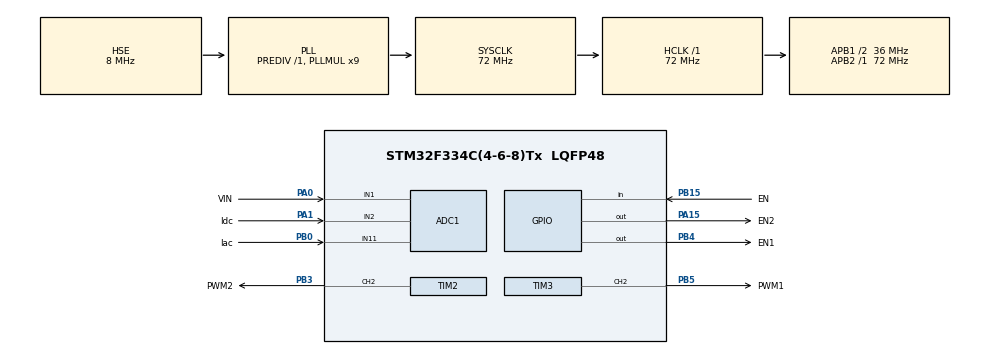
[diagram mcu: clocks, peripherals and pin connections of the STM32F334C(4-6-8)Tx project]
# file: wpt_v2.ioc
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ADC1.Channel-0\#ChannelRegularConversion=ADC_CHANNEL_1
ADC1.Channel-1\#ChannelRegularConversion=ADC_CHANNEL_2
ADC1.Channel-2\#ChannelRegularConversion=ADC_CHANNEL_11
ADC1.ClockPrescaler=ADC_CLOCK_SYNC_PCLK_DIV2
ADC1.ContinuousConvMode=ENABLE
ADC1.DMAContinuousRequests=ENABLE
ADC1.EOCSelection=ADC_EOC_SEQ_CONV
ADC1.NbrOfConversion=3
ADC1.NbrOfConversionFlag=1
ADC1.Offset-0\#ChannelRegularConversion=0
ADC1.Offset-1\#ChannelRegularConversion=0
ADC1.Offset-2\#ChannelRegularConversion=0
ADC1.OffsetNumber-0\#ChannelRegularConversion=ADC_OFFSET_NONE
ADC1.OffsetNumber-1\#ChannelRegularConversion=ADC_OFFSET_NONE
ADC1.OffsetNumber-2\#ChannelRegularConversion=ADC_OFFSET_NONE
ADC1.Overrun=ADC_OVR_DATA_PRESERVED
ADC1.Rank-0\#ChannelRegularConversion=1
ADC1.Rank-1\#ChannelRegularConversion=2
ADC1.Rank-2\#ChannelRegularConversion=3
ADC1.SamplingTime-0\#ChannelRegularConversion=ADC_SAMPLETIME_61CYCLES_5
ADC1.SamplingTime-1\#ChannelRegularConversion=ADC_SAMPLETIME_61CYCLES_5
ADC1.SamplingTime-2\#ChannelRegularConversion=ADC_SAMPLETIME_1CYCLE_5
ADC1.SamplingTimeOPAMP-1\#ChannelRegularConversion=ADC_SAMPLETIME_19CYCLES_5
ADC1.SamplingTimeOPAMP-2\#ChannelRegularConversion=ADC_SAMPLETIME_19CYCLES_5
ADC1.SequencerNbRanks=1
ADC1.master=1
Dma.ADC1.0.Direction=DMA_PERIPH_TO_MEMORY
Dma.ADC1.0.Instance=DMA1_Channel1
Dma.ADC1.0.MemDataAlignment=DMA_MDATAALIGN_HALFWORD
Dma.ADC1.0.MemInc=DMA_MINC_ENABLE
Dma.ADC1.0.Mode=DMA_CIRCULAR
Dma.ADC1.0.PeriphDataAlignment=DMA_PDATAALIGN_HALFWORD
Dma.ADC1.0.PeriphInc=DMA_PINC_DISABLE
Dma.ADC1.0.Priority=DMA_PRIORITY_HIGH
Dma.Request0=ADC1
Mcu.Family=STM32F3
Mcu.Name=STM32F334C(4-6-8)Tx
Mcu.Package=LQFP48
NVIC.DMA1_Channel1_IRQn=true\:2\:0\:true\:false\:true\:false\:true\:true
NVIC.PriorityGroup=NVIC_PRIORITYGROUP_4
PA0.GPIO_Label=VIN
PA0.Mode=IN1-Single-Ended
PA0.Signal=ADC1_IN1
PA1.GPIO_Label=Idc
PA1.Mode=IN2-Single-Ended
PA1.Signal=ADC1_IN2
PA13.Mode=Serial_Wire
PA13.Signal=SYS_JTMS-SWDIO
PA14.Mode=Serial_Wire
PA14.Signal=SYS_JTCK-SWCLK
PA15.GPIO_Label=EN2
PA15.Signal=GPIO_Output
PB0.GPIO_Label=Iac
PB0.Mode=IN11-Single-Ended
PB0.Signal=ADC1_IN11
PB15.GPIO_Label=EN
PB15.GPIO_PuPd=GPIO_PULLUP
PB15.Signal=GPIO_Input
PB3.GPIO_Label=PWM2
PB3.Signal=S_TIM2_CH2
PB4.GPIO_Label=EN1
PB4.Signal=GPIO_Output
PB5.GPIO_Label=PWM1
PB5.Signal=S_TIM3_CH2
PF0\ /\ OSC_IN.Mode=HSE-External-Oscillator
PF0\ /\ OSC_IN.Signal=RCC_OSC_IN
PF1\ /\ OSC_OUT.Mode=HSE-External-Oscillator
PF1\ /\ OSC_OUT.Signal=RCC_OSC_OUT
ProjectManager.HeapSize=0x200
ProjectManager.StackSize=0x400
ProjectManager.TargetToolchain=MDK-ARM V5.32
RCC.AHBFreq_Value=72000000
RCC.APB1CLKDivider=RCC_HCLK_DIV2
RCC.APB1Freq_Value=36000000
RCC.APB1TimFreq_Value=72000000
RCC.APB2Freq_Value=72000000
RCC.APB2TimFreq_Value=72000000
RCC.CortexFreq_Value=72000000
RCC.HCLKFreq_Value=72000000
RCC.HSE_VALUE=8000000
RCC.HSI_VALUE=8000000
RCC.LSE_VALUE=32768
RCC.PLLMUL=RCC_PLL_MUL9
RCC.PLLSourceVirtual=RCC_PLLSOURCE_HSE
RCC.SYSCLKFreq_VALUE=72000000
RCC.SYSCLKSourceVirtual=RCC_SYSCLKSOURCE_PLLCLK
SH.S_TIM2_CH2.0=TIM2_CH2,PWM Generation2 CH2
SH.S_TIM3_CH2.0=TIM3_CH2,PWM Generation2 CH2
TIM2.AutoReloadPreload=TIM_AUTORELOAD_PRELOAD_ENABLE
TIM2.Channel-PWM\ Generation2\ CH2=TIM_CHANNEL_2
TIM2.Period=719
TIM3.AutoReloadPreload=TIM_AUTORELOAD_PRELOAD_ENABLE
TIM3.Channel-Output\ Compare1\ No\ Output=TIM_CHANNEL_1
TIM3.Channel-PWM\ Generation2\ CH2=TIM_CHANNEL_2
TIM3.OC1Preload=ENABLE
TIM3.Period=719
TIM3.TIM_MasterOutputTrigger=TIM_TRGO_OC1REF
TIM3.TIM_MasterSlaveMode=TIM_MASTERSLAVEMODE_ENABLE
VP_TIM2_VS_ClockSourceITR.Mode=TriggerSource_ITR2
VP_TIM2_VS_ControllerModeReset.Mode=Reset Mode
VP_TIM3_VS_ClockSourceINT.Mode=Internal
VP_TIM3_VS_no_output1.Mode=Output Compare1 No Output
board=custom

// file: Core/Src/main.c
/* USER CODE BEGIN Header */
/**
  ******************************************************************************
  * @file           : main.c
  * @brief          : Main program body
  ******************************************************************************
  * @attention
  *
  * Copyright (c) 2026 STMicroelectronics.
  * All rights reserved.
  *
  * This software is licensed under terms that can be found in the LICENSE file
  * in the root directory of this software component.
  * If no LICENSE file comes with this software, it is provided AS-IS.
  *
  ******************************************************************************
  */
/* USER CODE END Header */
#include "main.h"
#include "adc.h"
#include "dma.h"
#include "tim.h"
#include "gpio.h"

/* USER CODE BEGIN Includes */
#include "fz_hbridge.h"
#include "adc_sensor.h"

#ifdef USE_FREERTOS
#include "FreeRTOS.h"
#include "task.h"

/* External task functions (defined in app_tasks.c) */
extern void vTaskController(void *pvParameters);
extern void vTaskPeripheral(void *pvParameters);

/* System configuration helpers (defined in syscfg.c) */
extern void syscfg_jtag_release(void);
extern void syscfg_powerup_safety(void);
#endif

/* USER CODE END Includes */

void SystemClock_Config(void);

int main(void)
{

  /* MCU Configuration--------------------------------------------------------*/

  /* Reset of all peripherals, Initializes the Flash interface and the Systick. */
  HAL_Init();

  /* Configure the system clock */
  SystemClock_Config();

  /* USER CODE BEGIN SysInit */
    /* JTAG release + power-up safety.
     * syscfg_jtag_release() MUST run before MX_GPIO_Init(),
     * otherwise PB3/PB4/PA15 stay locked in JTAG mode. */
    syscfg_jtag_release();
    syscfg_powerup_safety();
  /* USER CODE END SysInit */

  /* Initialize all configured peripherals */
  MX_GPIO_Init();
  MX_DMA_Init();
  MX_TIM2_Init();
  MX_TIM3_Init();
  MX_ADC1_Init();
  /* USER CODE BEGIN 2 */
  fz_hbridge_init();
  fz_hbridge_set_phase(180);

  /* Start ADC1 + DMA circular scan (adc_raw[3] updated continuously) */
  adc_sensor_start();

  #ifdef USE_FREERTOS
  /* FreeRTOS kernel interrupts must be lowest priority on Cortex-M4. */
  HAL_NVIC_SetPriority(SysTick_IRQn,   configLIBRARY_LOWEST_INTERRUPT_PRIORITY, 0);
  HAL_NVIC_SetPriority(PendSV_IRQn,    configLIBRARY_LOWEST_INTERRUPT_PRIORITY, 0);

  {
      extern void vTaskController(void *pv);
      extern void vTaskPeripheral(void *pv);

      xTaskCreate(vTaskController, "ctrl", 200, NULL, 3, NULL);
      xTaskCreate(vTaskPeripheral, "peri", 200, NULL, 1, NULL);
  }

  vTaskStartScheduler();
  #endif
  /* USER CODE END 2 */

  /* Infinite loop */
  while (1)
  {

    /* USER CODE BEGIN 3 */
    /* Application logic runs in FreeRTOS tasks (app_tasks.c). */
  }
  /* USER CODE END 3 */
}

void SystemClock_Config(void)
{
  RCC_OscInitTypeDef RCC_OscInitStruct = {0};
  RCC_ClkInitTypeDef RCC_ClkInitStruct = {0};

  /** Initializes the RCC Oscillators according to the specified parameters
  * in the RCC_OscInitTypeDef structure.
  */
  RCC_OscInitStruct.OscillatorType = RCC_OSCILLATORTYPE_HSE;
  RCC_OscInitStruct.HSEState = RCC_HSE_ON;
  RCC_OscInitStruct.HSEPredivValue = RCC_HSE_PREDIV_DIV1;
  RCC_OscInitStruct.HSIState = RCC_HSI_ON;
  RCC_OscInitStruct.PLL.PLLState = RCC_PLL_ON;
  RCC_OscInitStruct.PLL.PLLSource = RCC_PLLSOURCE_HSE;
  RCC_OscInitStruct.PLL.PLLMUL = RCC_PLL_MUL9;
  if (HAL_RCC_OscConfig(&RCC_OscInitStruct) != HAL_OK)
  {
    Error_Handler();
  }

  /** Initializes the CPU, AHB and APB buses clocks
  */
  RCC_ClkInitStruct.ClockType = RCC_CLOCKTYPE_HCLK|RCC_CLOCKTYPE_SYSCLK
                              |RCC_CLOCKTYPE_PCLK1|RCC_CLOCKTYPE_PCLK2;
  RCC_ClkInitStruct.SYSCLKSource = RCC_SYSCLKSOURCE_PLLCLK;
  RCC_ClkInitStruct.AHBCLKDivider = RCC_SYSCLK_DIV1;
  RCC_ClkInitStruct.APB1CLKDivider = RCC_HCLK_DIV2;
  RCC_ClkInitStruct.APB2CLKDivider = RCC_HCLK_DIV1;

  if (HAL_RCC_ClockConfig(&RCC_ClkInitStruct, FLASH_LATENCY_2) != HAL_OK)
  {
    Error_Handler();
  }
}

void Error_Handler(void)
{
  __disable_irq();
  while (1)
  {
  }
}
